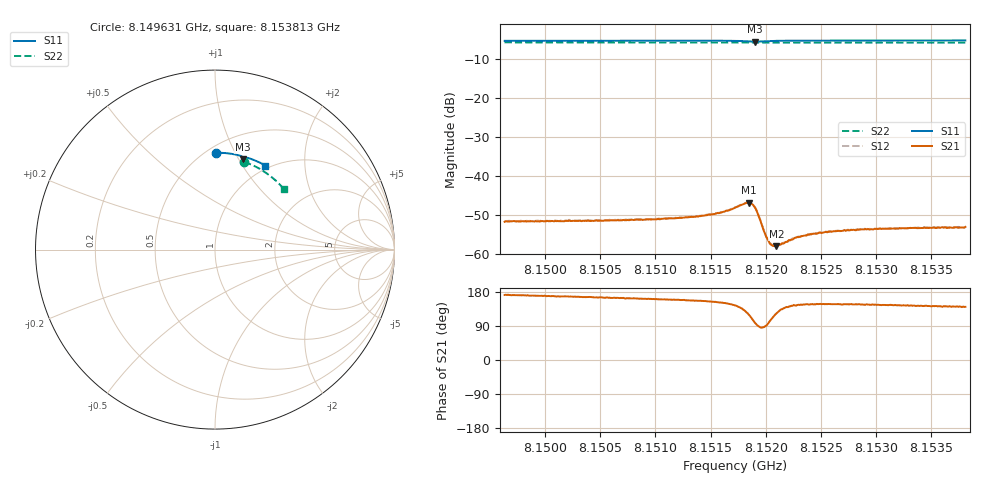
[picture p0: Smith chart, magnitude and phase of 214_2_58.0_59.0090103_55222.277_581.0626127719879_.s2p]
#  HZ  S  RI  R  50.00
! Rohde & Schwarz Vector Network Analyzer
! Rohde-Schwarz,ZNB20-2Port,1311601062101988,3.16
! Created: UTC 3/21/2024, 12:59:52 AM
! freq[Hz]  re:S11  im:S11  re:S21  im:S21  re:S12  im:S12  re:S22  im:S22
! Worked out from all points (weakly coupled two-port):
!   401 points, 8.149631 GHz to 8.153813 GHz, reference 50 ohm
!   highest |S21| = -46.75 dB at 8.151847 GHz (marker M1); lowest = -57.9 dB at 8.152098 GHz (marker M2)
!   lowest |S11| = -5.6 dB at 8.1519 GHz (marker M3), VSWR 3.23, Z = 37.3 + j52.1 ohm
!   |S11| at or under -10 dB: nowhere
!   |S22| runs from -5.8 to -5.7 dB; largest |S21 - S12| = 0.00012
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8.1496309e9  0.00473 0.5396  -0.00258 0.000382  -0.00262 0.000406  0.1629 0.4896
8.1503314e9  0.0538 0.538  -0.00258 0.000626  -0.00263 0.000697  0.2051 0.4726
8.1510319e9  0.1027 0.5319  -0.00265 0.000961  -0.00269 0.00101  0.2455 0.452
8.1513665e9  0.1265 0.5269  -0.0028 0.0012  -0.00279 0.00128  0.264 0.4409
8.1515233e9  0.138 0.5239  -0.00291 0.00145  -0.00291 0.0015  0.2725 0.4356
8.1516488e9  0.1477 0.5203  -0.0031 0.00186  -0.00309 0.00191  0.2793 0.4311
8.1517219e9  0.1535 0.5171  -0.00319 0.00232  -0.0032 0.00241  0.2831 0.4282
8.1518056e9  0.1589 0.5107  -0.00294 0.00334  -0.00292 0.00337  0.2874 0.425
8.1518474e9  0.1592 0.5062  -0.00226 0.00401  -0.00224 0.00404  0.2895 0.4233
8.1518683e9  0.158 0.5044  -0.00168 0.00415  -0.00163 0.00421  0.2905 0.4225
8.1518997e9  0.1551 0.5037  -0.000659 0.00397  -0.000645 0.00402  0.2918 0.4214
8.1519311e9  0.1532 0.506  5.81e-06 0.00325  6.35e-05 0.00328  0.2935 0.4206
8.1519938e9  0.156 0.5115  4.33e-05 0.00185  8.28e-05 0.00186  0.2968 0.4184
8.1520252e9  0.1587 0.513  -0.000199 0.00148  -0.00017 0.00147  0.2984 0.4173
8.1520565e9  0.1618 0.5137  -0.000435 0.00123  -0.000432 0.00126  0.3001 0.4161
8.1520983e9  0.1658 0.514  -0.000694 0.00107  -0.000683 0.00111  0.3023 0.4145
8.1521297e9  0.1684 0.5139  -0.000877 0.001  -0.00086 0.00102  0.3038 0.4132
8.1522761e9  0.1803 0.5117  -0.00131 0.000968  -0.00135 0.000985  0.3114 0.4074
8.1524225e9  0.1909 0.5086  -0.00154 0.000976  -0.00153 0.00101  0.3187 0.4016
8.1527675e9  0.2144 0.5002  -0.00171 0.0011  -0.0017 0.00116  0.3354 0.3871
8.153123e9  0.2375 0.4904  -0.00175 0.00121  -0.00174 0.00125  0.3518 0.3716
8.153813e9  0.2802 0.4685  -0.00173 0.00143  -0.00167 0.00143  0.3818 0.3393
